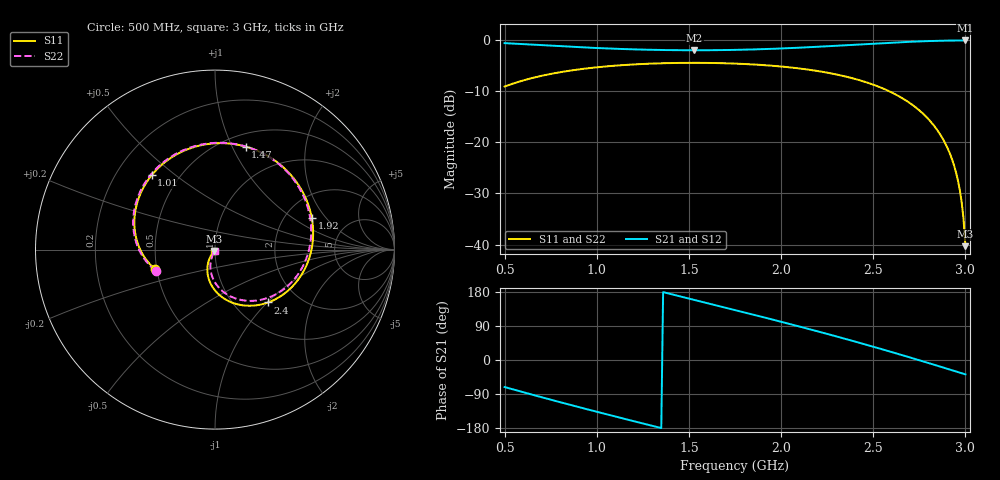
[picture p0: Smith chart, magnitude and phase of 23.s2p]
!freq-unit  param-type  data-format  keyword  impedance-ohms
# GHZ  S  RI  R  50
!Freq  ReS11  ImS11  ReS21  ImS21  ReS12  ImS12  ReS22  ImS22
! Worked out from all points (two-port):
!   251 points, 500 MHz to 3 GHz, reference 50 ohm
!   highest |S21| = -0.07 dB at 3 GHz (marker M1); lowest = -2.0 dB at 1.53 GHz (marker M2)
!   |S21| within 3 dB of the highest: start of sweep to end of sweep
!   lowest |S11| = -40.3 dB at 3 GHz (marker M3), VSWR 1.02, Z = 49.5 - j0.816 ohm
!   |S11| at or under -10 dB: 2.586 GHz to end of sweep
!   |S22| runs from -40.1 to -4.4 dB; largest |S21 - S12| = 0
!   S11 on the Smith chart (normalised r, x): 500 MHz: 0.49, -0.12; 1.01 GHz: 0.35, +0.41; 1.47 GHz: 0.63, +1.13; 1.92 GHz: 2.80, +1.44; 2.4 GHz: 1.42, -1.01; 3 GHz: 0.99, -0.02
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0.5  -0.3343 -0.1075  0.2994 -0.8845  0.2994 -0.8845  -0.3312 -0.1166
0.7  -0.4412 0.0725  -0.1264 -0.8824  -0.1264 -0.8824  -0.4436 0.0555
0.92  -0.4109 0.3216  -0.5056 -0.6825  -0.5056 -0.6825  -0.4268 0.3003
1.01  -0.3533 0.4138  -0.6191 -0.5604  -0.6191 -0.5604  -0.376 0.3934
1.17  -0.2003 0.5376  -0.7535 -0.3096  -0.7535 -0.3096  -0.2349 0.5235
1.34  0.0059 0.5925  -0.8004 -0.0222  -0.8004 -0.0222  -0.0383 0.5913
1.47  0.1703 0.5741  -0.7716 0.1948  -0.7716 0.1948  0.1227 0.5861
1.53  0.2426 0.5481  -0.7402 0.2905  -0.7402 0.2905  0.195 0.5669
1.75  0.4573 0.3715  -0.5353 0.5976  -0.5353 0.5976  0.419 0.4143
1.92  0.5394 0.1746  -0.2921 0.7637  -0.2921 0.7637  0.5179 0.231
2.05  0.5402 0.0138  -0.0676 0.8323  -0.0676 0.8323  0.5352 0.0751
2.17  0.4923 -0.123  0.1588 0.8403  0.1588 0.8403  0.5036 -0.0631
2.29  0.4034 -0.2318  0.3906 0.7868  0.3906 0.7868  0.4296 -0.1789
2.4  0.2966 -0.2941  0.5934 0.6788  0.5934 0.6788  0.333 -0.2523
2.59  0.1005 -0.2974  0.8708 0.3596  0.8708 0.3596  0.1421 -0.28
2.78  -0.0283 -0.1812  0.9715 -0.0864  0.9715 -0.0864  0.000327 -0.1834
2.85  -0.0425 -0.1227  0.9482 -0.2621  0.9482 -0.2621  -0.022 -0.128
2.9  -0.04 -0.081  0.91 -0.3846  0.91 -0.3846  -0.0257 -0.0866
2.94  -0.0305 -0.0495  0.8669 -0.4786  0.8669 -0.4786  -0.0213 -0.0542
2.97  -0.0194 -0.0278  0.8276 -0.5458  0.8276 -0.5458  -0.0137 -0.0311
2.99  -0.0101 -0.0145  0.7981 -0.5887  0.7981 -0.5887  -0.0067 -0.0166
3  -0.00501 -0.00825  0.7825 -0.6095  0.7825 -0.6095  -0.00266 -0.00957
